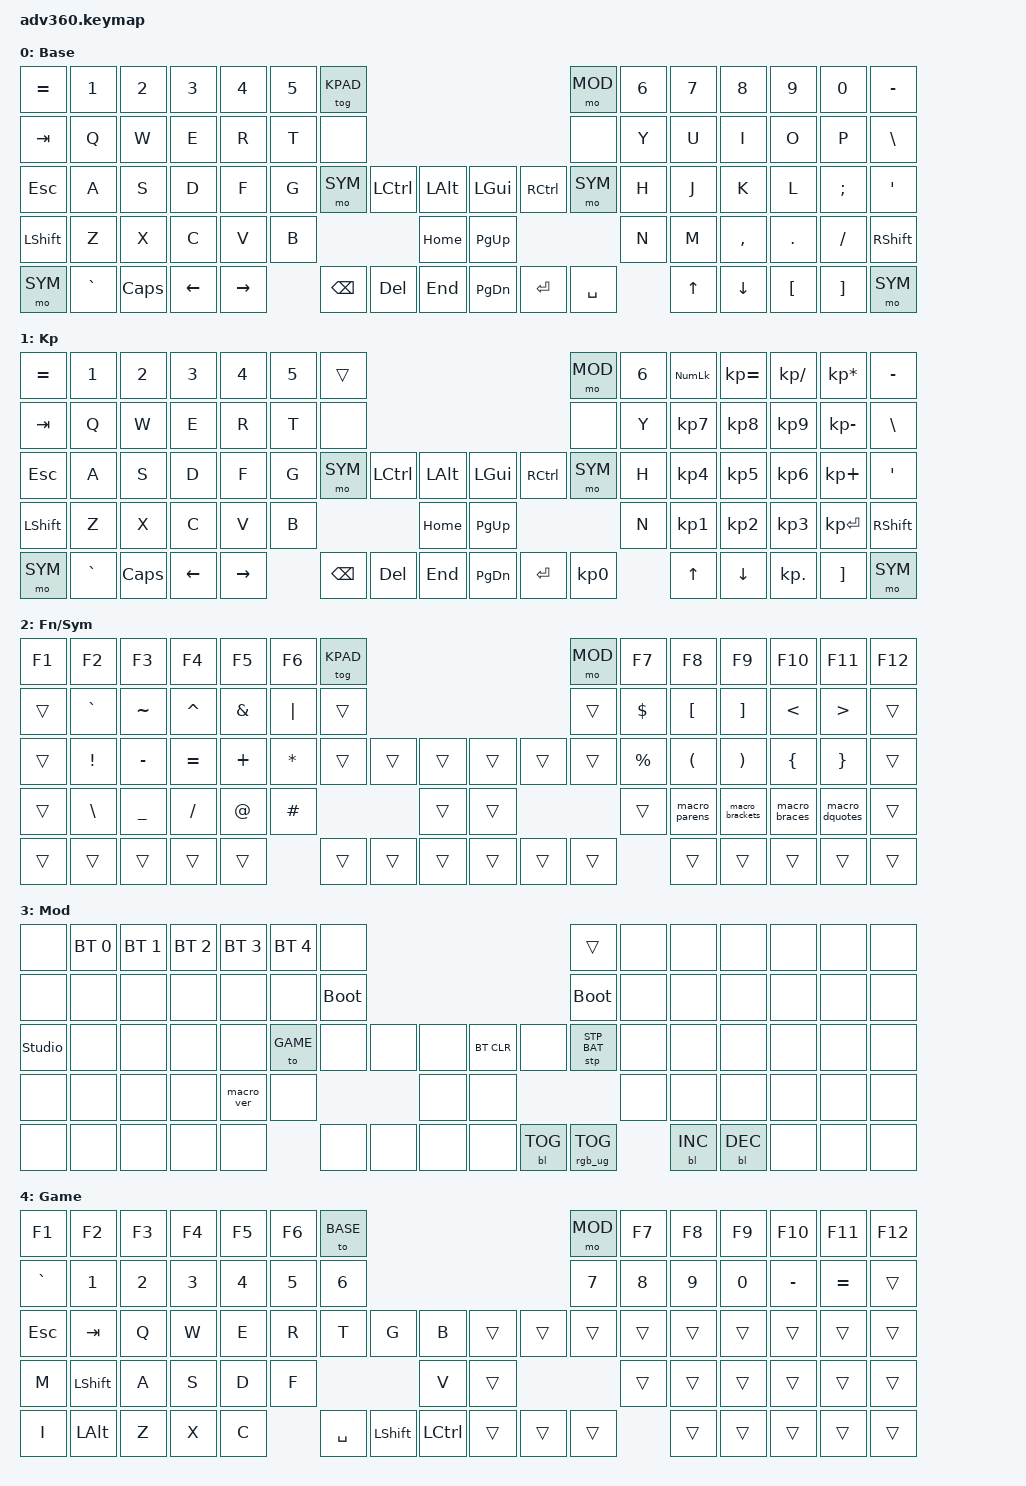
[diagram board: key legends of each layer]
#include <dt-bindings/zmk/stp.h>
#include <behaviors.dtsi>
#include <dt-bindings/zmk/backlight.h>
#include <dt-bindings/zmk/bt.h>
#include <dt-bindings/zmk/keys.h>
#include <dt-bindings/zmk/rgb.h>
#include <dt-bindings/zmk/pointing.h>

#define BASE 0
#define KPAD 1
#define SYM  2
#define MOD  3
#define GAME 4

/ {
    behaviors {
        #include "macros.dtsi"
      #include "version.dtsi"

        hm: homerow_mods {
            compatible = "zmk,behavior-hold-tap";
            label = "HOMEROW_MODS";
            #binding-cells = <2>;
            tapping-term-ms = <200>;
            quick-tap-ms = <175>;
            flavor = "tap-preferred";
            bindings = <&kp>, <&kp>;
        };
    };

    keymap {
        compatible = "zmk,keymap";

        default_layer {
            display-name = "Base";
            bindings = <
&kp EQUAL  &kp N1     &kp N2    &kp N3    &kp N4     &kp N5  &tog KPAD                                             &mo MOD    &kp N6  &kp N7  &kp N8     &kp N9    &kp N0    &kp MINUS
&kp TAB    &kp Q      &kp W     &kp E     &kp R      &kp T   &none                                                 &none      &kp Y   &kp U   &kp I      &kp O     &kp P     &kp BSLH
&kp ESC    &kp A      &kp S     &kp D     &kp F      &kp G   &mo SYM    &kp LCTRL  &kp LALT  &kp LGUI   &kp RCTRL  &mo SYM    &kp H   &kp J   &kp K      &kp L     &kp SEMI  &kp SQT
&kp LSHFT  &kp Z      &kp X     &kp C     &kp V      &kp B                         &kp HOME  &kp PG_UP                        &kp N   &kp M   &kp COMMA  &kp DOT   &kp FSLH  &kp RSHFT
&mo SYM    &kp GRAVE  &kp CAPS  &kp LEFT  &kp RIGHT          &kp BSPC   &kp DEL    &kp END   &kp PG_DN  &kp ENTER  &kp SPACE          &kp UP  &kp DOWN   &kp LBKT  &kp RBKT  &mo SYM
            >;
        };

        keypad {
            display-name = "Kp";
            bindings = <
&kp EQUAL  &kp N1     &kp N2    &kp N3    &kp N4     &kp N5  &trans                                               &mo MOD    &kp N6  &kp KP_NUM  &kp KP_EQUAL  &kp KP_DIVIDE  &kp KP_MULTIPLY  &kp MINUS
&kp TAB    &kp Q      &kp W     &kp E     &kp R      &kp T   &none                                                &none      &kp Y   &kp KP_N7   &kp KP_N8     &kp KP_N9      &kp KP_MINUS     &kp BSLH
&kp ESC    &kp A      &kp S     &kp D     &kp F      &kp G   &mo SYM   &kp LCTRL  &kp LALT  &kp LGUI   &kp RCTRL  &mo SYM    &kp H   &kp KP_N4   &kp KP_N5     &kp KP_N6      &kp KP_PLUS      &kp SQT
&kp LSHFT  &kp Z      &kp X     &kp C     &kp V      &kp B                        &kp HOME  &kp PG_UP                        &kp N   &kp KP_N1   &kp KP_N2     &kp KP_N3      &kp KP_ENTER     &kp RSHFT
&mo SYM    &kp GRAVE  &kp CAPS  &kp LEFT  &kp RIGHT          &kp BSPC  &kp DEL    &kp END   &kp PG_DN  &kp ENTER  &kp KP_N0          &kp UP      &kp DOWN      &kp KP_DOT     &kp RBKT         &mo SYM
            >;
        };

        fn {
            display-name = "Fn/Sym";
            bindings = <
&kp F1  &kp F2     &kp F3     &kp F4     &kp F5    &kp F6     &tog KPAD                                  &mo MOD  &kp F7     &kp F8         &kp F9           &kp F10        &kp F11         &kp F12
&trans  &kp GRAVE  &kp TILDE  &kp CARET  &kp AMPS  &kp PIPE   &trans                                     &trans   &kp DLLR   &kp LBKT       &kp RBKT         &kp LT         &kp GT          &trans
&trans  &kp EXCL   &kp MINUS  &kp EQUAL  &kp PLUS  &kp ASTRK  &trans     &trans  &trans  &trans  &trans  &trans   &kp PRCNT  &kp LPAR       &kp RPAR         &kp LBRC       &kp RBRC        &trans
&trans  &kp BSLH   &kp UNDER  &kp FSLH   &kp AT    &kp HASH                      &trans  &trans                   &trans     &macro_parens  &macro_brackets  &macro_braces  &macro_dquotes  &trans
&trans  &trans     &trans     &trans     &trans               &trans     &trans  &trans  &trans  &trans  &trans              &trans         &trans           &trans         &trans          &trans
            >;
        };

        mod {
            display-name = "Mod";
            bindings = <
&none           &bt BT_SEL 0  &bt BT_SEL 1  &bt BT_SEL 2  &bt BT_SEL 3  &bt BT_SEL 4  &none                                              &trans           &none  &none       &none       &none  &none  &none
&none           &none         &none         &none         &none         &none         &bootloader                                        &bootloader      &none  &none       &none       &none  &none  &none
&studio_unlock  &none         &none         &none         &none         &to GAME      &none        &none  &none  &bt BT_CLR  &none       &stp STP_BAT     &none  &none       &none       &none  &none  &none
&none           &none         &none         &none         &macro_ver    &none                             &none  &none                                    &none  &none       &none       &none  &none  &none
&none           &none         &none         &none         &none                       &none        &none  &none  &none       &bl BL_TOG  &rgb_ug RGB_TOG         &bl BL_INC  &bl BL_DEC  &none  &none  &none
            >;
        };

        game {
            display-name = "Game";
            bindings = <
&kp F1     &kp F2     &kp F3  &kp F4  &kp F5  &kp F6  &to BASE                                         &mo MOD  &kp F7  &kp F8  &kp F9  &kp F10    &kp F11    &kp F12
&kp GRAVE  &kp N1     &kp N2  &kp N3  &kp N4  &kp N5  &kp N6                                           &kp N7   &kp N8  &kp N9  &kp N0  &kp MINUS  &kp EQUAL  &trans
&kp ESC    &kp TAB    &kp Q   &kp W   &kp E   &kp R   &kp T      &kp G      &kp B      &trans  &trans  &trans   &trans  &trans  &trans  &trans     &trans     &trans
&kp M      &kp LSHFT  &kp A   &kp S   &kp D   &kp F                         &kp V      &trans                   &trans  &trans  &trans  &trans     &trans     &trans
&kp I      &kp LALT   &kp Z   &kp X   &kp C           &kp SPACE  &kp LSHFT  &kp LCTRL  &trans  &trans  &trans           &trans  &trans  &trans     &trans     &trans
            >;
        };

        extra1 {
            display-name = "Red";
            status = "reserved";
        };

        extra2 {
            display-name = "Purple";
            status = "reserved";
        };

        extra3 {
            display-name = "Cyan";
            status = "reserved";
        };

        extra4 {
            display-name = "Yellow";
            status = "reserved";
        };
    };
};
